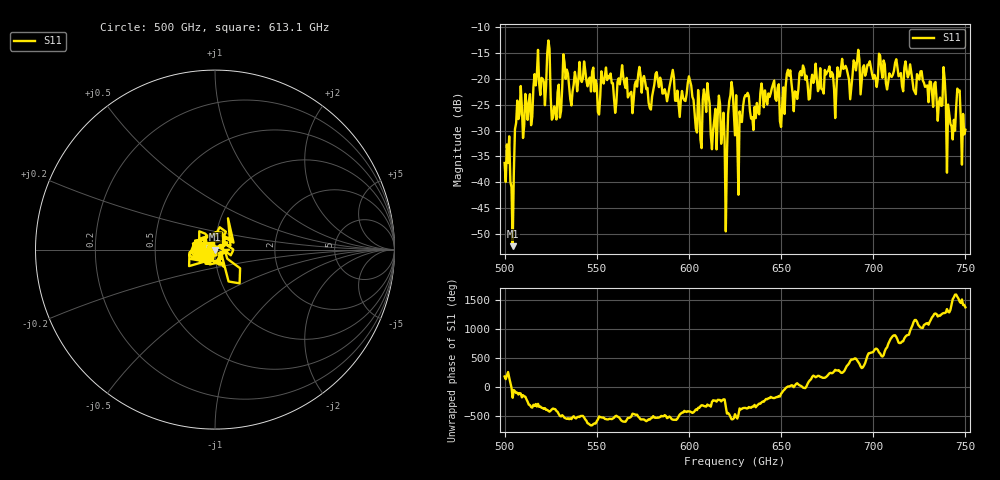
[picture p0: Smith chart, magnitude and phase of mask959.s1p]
!Created with skrf (http://scikit-rf.org).
# GHz S MA R 50.0
!freq magS11 angS11
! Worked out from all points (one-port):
!   401 points, 500 GHz to 750 GHz, reference 50 ohm
!   lowest |S11| = -52.3 dB at 504.4 GHz (marker M1), VSWR 1.00, Z = 49.8 + j0.0325 ohm
!   |S11| at or under -10 dB: start of sweep to end of sweep
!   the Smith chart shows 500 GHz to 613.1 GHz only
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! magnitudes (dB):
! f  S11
! 500 GHz  -36.3
! 504.4 GHz  -52.3
! 508.1 GHz  -26.9
! 523.8 GHz  -12.7
! 526.9 GHz  -25.4
! 531.2 GHz  -21.8
! 562.5 GHz  -21.1
! 579.4 GHz  -26.0
! 590.6 GHz  -19.6
! 593.8 GHz  -22.3
! 600.6 GHz  -20.5
! 605.6 GHz  -25.5
! 609.4 GHz  -26.4
! 613.8 GHz  -28.0
! 617.5 GHz  -32.6
! 619.4 GHz  -32.1
! 622.5 GHz  -23.2
! 625 GHz  -30.9
! 627.5 GHz  -26.3
! 631.2 GHz  -23.4
! 635 GHz  -29.9
! 656.2 GHz  -22.9
! 687.5 GHz  -24.0
! 718.8 GHz  -19.8
! 738.1 GHz  -17.8
! 741.2 GHz  -26.9
! 746.2 GHz  -22.5
! 750 GHz  -29.9
